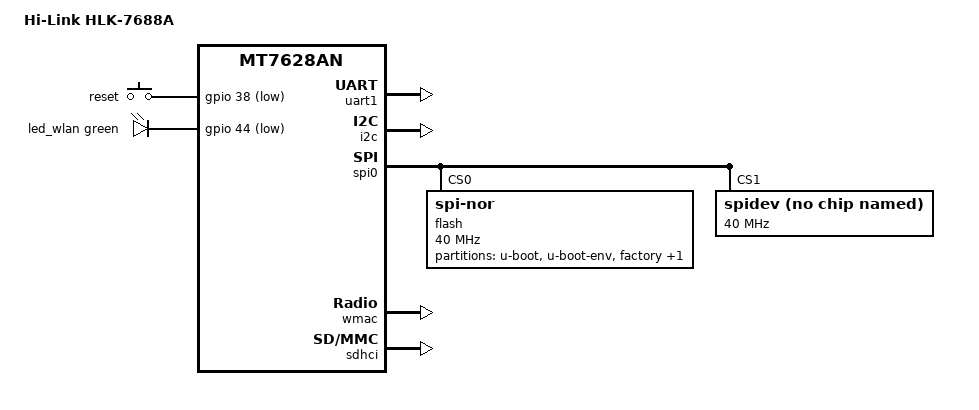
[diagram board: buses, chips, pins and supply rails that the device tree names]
// SPDX-License-Identifier: GPL-2.0-or-later OR MIT

#include "mt7628an.dtsi"

#include <dt-bindings/gpio/gpio.h>
#include <dt-bindings/input/input.h>
#include <dt-bindings/leds/common.h>

/ {
	compatible = "hilink,hlk-7688a", "mediatek,mt7628an-soc";
	model = "Hi-Link HLK-7688A";

	aliases {
		led-boot = &led_wlan;
		led-failsafe = &led_wlan;
		led-upgrade = &led_wlan;
	};

	keys {
		compatible = "gpio-keys";

		reset {
			label = "reset";
			gpios = <&gpio 38 GPIO_ACTIVE_LOW>;
			linux,code = <KEY_RESTART>;
		};
	};

	leds {
		compatible = "gpio-leds";

		led_wlan: wlan {
			function = LED_FUNCTION_WLAN;
			color = <LED_COLOR_ID_GREEN>;
			gpios = <&gpio 44 GPIO_ACTIVE_LOW>;
			linux,default-trigger = "phy0tpt";
		};
	};
};

&state_default {
	gpio {
		groups = "wdt", "wled_an";
		function = "gpio";
	};
};

&uart1 {
	status = "okay";
};

&i2c {
	status = "okay";
};

&spi0 {
	status = "okay";

	pinctrl-names = "default";
	pinctrl-0 = <&spi_pins>, <&spi_cs1_pins>;

	flash@0 {
		compatible = "jedec,spi-nor";
		reg = <0>;
		spi-max-frequency = <40000000>;
		broken-flash-reset;

		partitions {
			compatible = "fixed-partitions";
			#address-cells = <1>;
			#size-cells = <1>;

			partition@0 {
				label = "u-boot";
				reg = <0x0 0x30000>;
				read-only;
			};

			partition@30000 {
				label = "u-boot-env";
				reg = <0x30000 0x10000>;
				read-only;
			};

			partition@40000 {
				label = "factory";
				reg = <0x40000 0x10000>;
				read-only;

				nvmem-layout {
					compatible = "fixed-layout";
					#address-cells = <1>;
					#size-cells = <1>;

					eeprom_factory_0: eeprom@0 {
						reg = <0x0 0x400>;
					};

					macaddr_factory_28: macaddr@28 {
						reg = <0x28 0x6>;
					};
				};
			};

			partition@50000 {
				compatible = "denx,uimage";
				label = "firmware";
				reg = <0x50000 0x1fb0000>;
			};
		};
	};

	spidev@1 {
		#address-cells = <1>;
		#size-cells = <1>;
		compatible = "linux,spidev";
		reg = <1>;
		spi-max-frequency = <40000000>;
	};
};

&ethernet {
	nvmem-cells = <&macaddr_factory_28>;
	nvmem-cell-names = "mac-address";
};

&esw {
	mediatek,portmap = <0x3e>;
};

&wmac {
	status = "okay";

	nvmem-cells = <&eeprom_factory_0>;
	nvmem-cell-names = "eeprom";
};

&sdhci {
	status = "okay";
	broken-cd;            /* CD 引脚悬空, mainline 驱动 mmc_of_parse 读 */
	no-1-8-v;             /* MT7688 SD 只 3.3V 信号, 禁止 UHS 1.8V 切换 (根因: signal voltage 1.8V 切换失败致卡 stuck) */
	vqmmc-supply = <&mmc_reg_3v3>;  /* 信号电压改 3.3V, 覆盖 dtsi 的 mmc_reg_1v8 */
};
